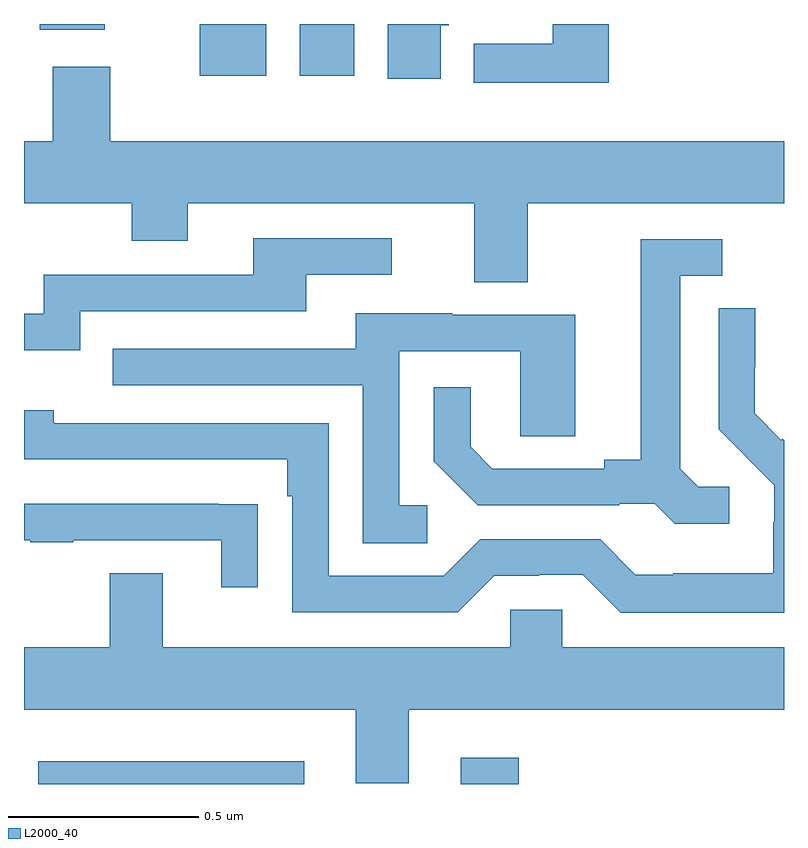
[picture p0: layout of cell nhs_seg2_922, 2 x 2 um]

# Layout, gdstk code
import gdstk
lib = gdstk.Library(unit=1e-6, precision=1e-09)
def R(c, l, rs):  # rectangles x0, y0, x1, y1
    for r in rs: c.add(gdstk.rectangle(r[:2], r[2:], *l))
def P(c, l, *ps):  # polygons
    for p in ps: c.add(gdstk.Polygon(p, *l))
L2000_40 = (2000, 40)

nhs_seg2_922 = lib.new_cell('nhs_seg2_922')
R(nhs_seg2_922, L2000_40, [(122.037,620.8,122.737,620.86), (123.149,620.8,123.302,620.869), (122.462,622.664,122.638,622.8), (122.726,622.664,122.869,622.8), (122.042,622.785,122.212,622.8)])
P(nhs_seg2_922, L2000_40, [(123.539,622.8),(123.392,622.8),(123.392,622.748),(123.183,622.748),(123.183,622.646),(123.539,622.646)],
  [(123.097,622.797),(123.118,622.797),(123.118,622.8),(122.957,622.8),(122.957,622.656),(123.097,622.656)],
  [(123.325,622.328),(124,622.328),(124,622.492),(122.227,622.492),(122.227,622.687),(122.075,622.687),(122.075,622.492),(122,622.492),(122,622.328),(122.284,622.328),(122.284,622.229),(122.431,622.229),(122.431,622.328),(123.185,622.328),(123.185,622.12),(123.325,622.12)],
  [(122.148,622.044),(122.743,622.044),(122.743,622.14),(122.968,622.14),(122.968,622.236),(122.603,622.236),(122.603,622.14),(122.052,622.14),(122.052,622.038),(122,622.038),(122,621.941),(122.148,621.941)],
  [(123.856,621.582),(123.774,621.582),(123.727,621.629),(123.727,622.137),(123.838,622.137),(123.838,622.233),(123.623,622.233),(123.623,621.653),(123.527,621.653),(123.527,621.63),(123.232,621.63),(123.175,621.687),(123.175,621.844),(123.078,621.844),(123.078,621.65),(123.194,621.534),(123.566,621.534),(123.566,621.537),(123.66,621.537),(123.712,621.485),(123.856,621.485)],
  [(124,621.704),(123.996,621.708),(123.993,621.705),(123.923,621.776),(123.923,621.898),(123.924,621.898),(123.924,622.052),(123.828,622.052),(123.828,621.734),(123.901,621.661),(123.9,621.66),(123.974,621.586),(123.974,621.489),(123.972,621.489),(123.972,621.355),(123.709,621.355),(123.709,621.351),(123.609,621.351),(123.516,621.444),(123.201,621.444),(123.105,621.348),(122.802,621.348),(122.802,621.75),(122.078,621.75),(122.078,621.784),(122,621.784),(122,621.654),(122.693,621.654),(122.693,621.557),(122.706,621.557),(122.706,621.252),(123.141,621.252),(123.237,621.348),(123.356,621.348),(123.356,621.351),(123.471,621.351),(123.571,621.251),(124,621.251)],
  [(123.061,621.534),(122.988,621.534),(122.988,621.939),(123.306,621.939),(123.306,621.715),(123.451,621.715),(123.451,622.035),(123.127,622.035),(123.127,622.039),(122.873,622.039),(122.873,621.945),(122.233,621.945),(122.233,621.849),(122.892,621.849),(122.892,621.433),(123.061,621.433)],
  [(122.615,621.536),(122.513,621.536),(122.513,621.537),(122,621.537),(122,621.441),(122.017,621.441),(122.017,621.436),(122.129,621.436),(122.129,621.441),(122.519,621.441),(122.519,621.318),(122.615,621.318)],
  [(123.013,620.996),(124,620.996),(124,621.16),(123.417,621.16),(123.417,621.258),(123.279,621.258),(123.279,621.16),(122.365,621.16),(122.365,621.355),(122.225,621.355),(122.225,621.16),(122,621.16),(122,620.996),(122.873,620.996),(122.873,620.802),(123.013,620.802)])

lib.write_gds('nhs_seg2_922.gds')
